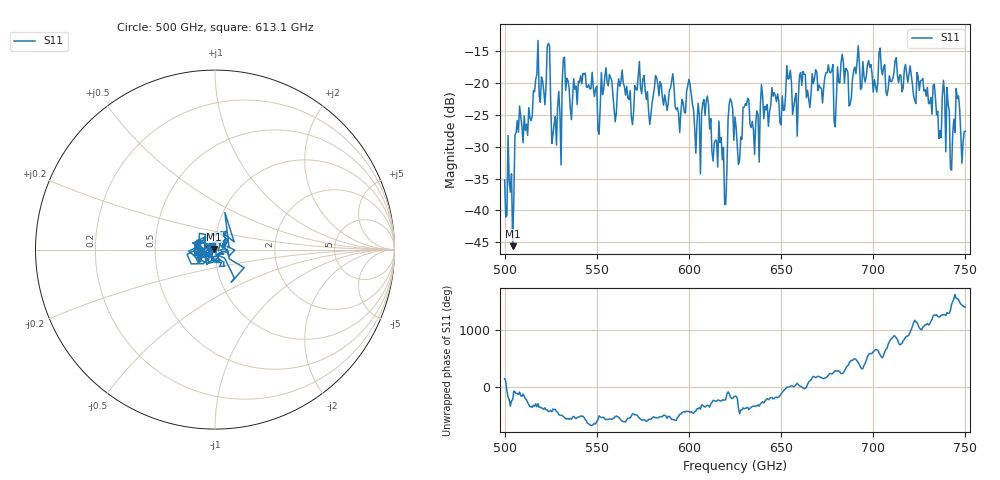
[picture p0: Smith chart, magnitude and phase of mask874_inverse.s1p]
!Created with skrf (http://scikit-rf.org).
# GHz S MA R 50.0
!freq magS11 angS11
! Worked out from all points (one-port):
!   401 points, 500 GHz to 750 GHz, reference 50 ohm
!   lowest |S11| = -45.6 dB at 504.4 GHz (marker M1), VSWR 1.01, Z = 49.6 + j0.327 ohm
!   |S11| at or under -10 dB: start of sweep to end of sweep
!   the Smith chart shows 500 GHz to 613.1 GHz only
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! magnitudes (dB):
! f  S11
! 500 GHz  -35.2
! 504.4 GHz  -45.6
! 506.9 GHz  -25.9
! 513.8 GHz  -25.6
! 516.9 GHz  -19.5
! 523.8 GHz  -13.9
! 526.9 GHz  -26.4
! 531.2 GHz  -19.9
! 562.5 GHz  -20.6
! 579.4 GHz  -25.0
! 590.6 GHz  -19.7
! 593.8 GHz  -23.9
! 600 GHz  -19.5
! 605 GHz  -23.2
! 609.4 GHz  -22.9
! 619.4 GHz  -39.1
! 622.5 GHz  -22.5
! 625 GHz  -25.4
! 656.2 GHz  -25.0
! 676.9 GHz  -18.5
! 680 GHz  -22.5
! 683.8 GHz  -16.6
! 687.5 GHz  -23.4
! 691.2 GHz  -16.7
! 718.8 GHz  -19.9
! 743.1 GHz  -27.9
! 745.6 GHz  -22.5
! 750 GHz  -27.6
